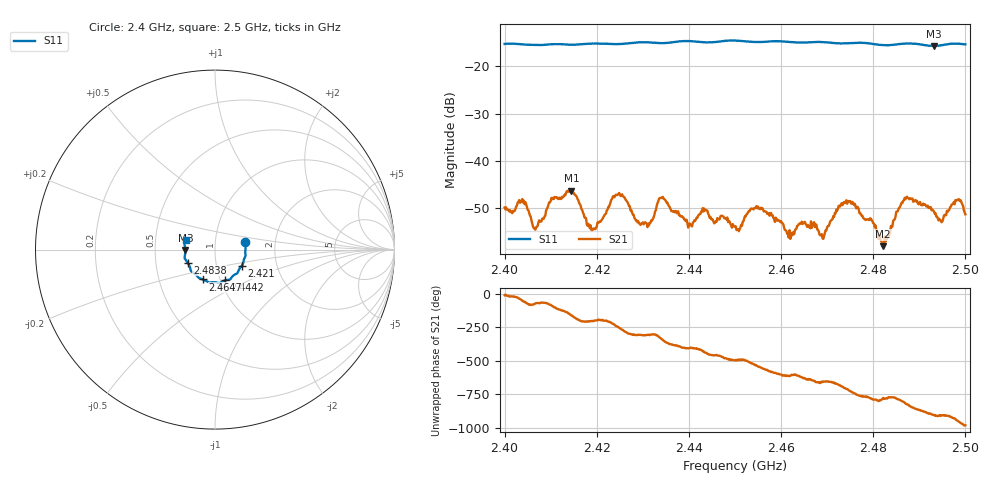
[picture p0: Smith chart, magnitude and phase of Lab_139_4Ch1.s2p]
# Hz S RI R 50
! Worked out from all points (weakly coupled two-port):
!   601 points, 2.4 GHz to 2.5 GHz, reference 50 ohm
!   highest |S21| = -46.35 dB at 2.4145 GHz (marker M1); lowest = -58.2 dB at 2.4822 GHz (marker M2)
!   lowest |S11| = -15.6 dB at 2.4932 GHz (marker M3), VSWR 1.40, Z = 35.8 - j0.097 ohm
!   |S11| at or under -10 dB: start of sweep to end of sweep
!   S12 and S22 are empty: the file has one direction only
!   S11 on the Smith chart (normalised r, x): 2.4 GHz: 1.40, +0.12; 2.421 GHz: 1.33, -0.24; 2.4442 GHz: 1.05, -0.37; 2.4647 GHz: 0.83, -0.28; 2.4838 GHz: 0.73, -0.11; 2.5 GHz: 0.72, +0.08
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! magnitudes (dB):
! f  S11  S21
! 2.4 GHz  -15.2  -50.0
! 2.4042 GHz  -15.3  -48.5
! 2.4067 GHz  -15.4  -54.7
! 2.4145 GHz  -15.4  -46.3
! 2.4167 GHz  -15.3  -50.2
! 2.421 GHz  -15.1  -52.7
! 2.4245 GHz  -15.2  -47.3
! 2.4297 GHz  -14.8  -53.3
! 2.4333 GHz  -15.0  -48.7
! 2.4442 GHz  -14.9  -51.2
! 2.45 GHz  -14.5  -54.0
! 2.4547 GHz  -14.8  -49.6
! 2.4647 GHz  -14.9  -53.5
! 2.4667 GHz  -14.8  -54.3
! 2.469 GHz  -14.8  -56.5
! 2.475 GHz  -15.0  -48.6
! 2.4822 GHz  -15.5  -58.2
! 2.4833 GHz  -15.5  -55.8
! 2.4838 GHz  -15.5  -53.9
! 2.4872 GHz  -15.1  -47.8
! 2.4932 GHz  -15.6  -50.8
! 2.5 GHz  -15.3  -51.4
